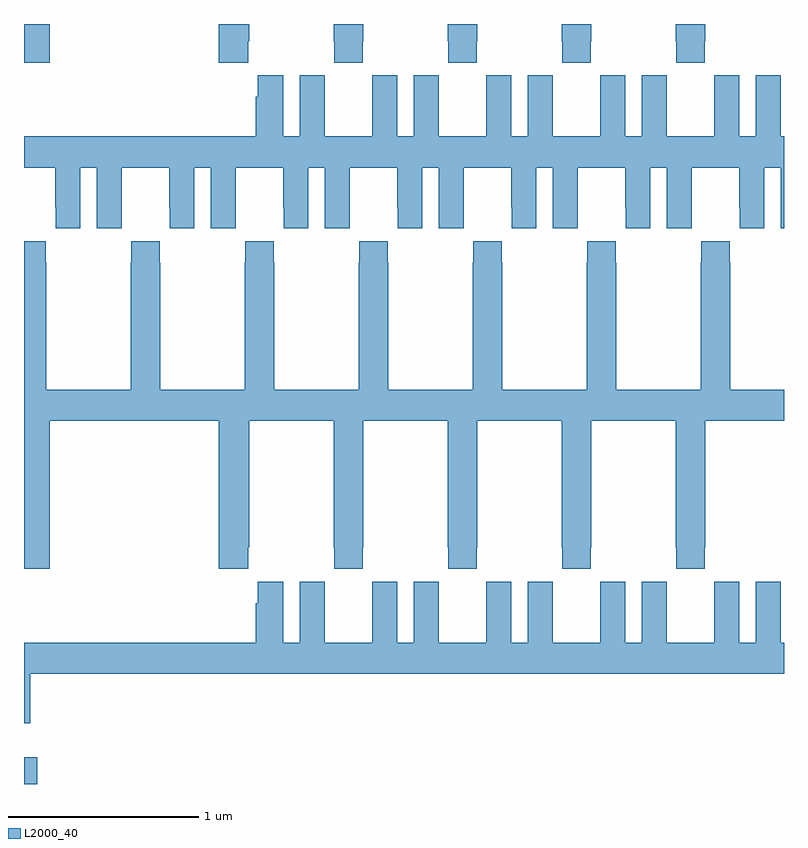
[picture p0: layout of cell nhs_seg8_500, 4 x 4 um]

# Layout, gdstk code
import gdstk
lib = gdstk.Library(unit=1e-6, precision=1e-09)
def R(c, l, rs):  # rectangles x0, y0, x1, y1
    for r in rs: c.add(gdstk.rectangle(r[:2], r[2:], *l))
def P(c, l, *ps):  # polygons
    for p in ps: c.add(gdstk.Polygon(p, *l))
L2000_40 = (2000, 40)

nhs_seg8_500 = lib.new_cell('nhs_seg8_500')
R(nhs_seg8_500, L2000_40, [(143,1135.9,143.071,1136.041), (143,1139.697,143.135,1139.9)])
P(nhs_seg8_500, L2000_40, [(144.179,1139.809),(144.186,1139.809),(144.186,1139.9),(144.026,1139.9),(144.026,1139.697),(144.179,1139.697)],
  [(144.783,1139.809),(144.786,1139.809),(144.786,1139.9),(144.631,1139.9),(144.631,1139.809),(144.633,1139.809),(144.633,1139.697),(144.783,1139.697)],
  [(145.383,1139.809),(145.386,1139.809),(145.386,1139.9),(145.231,1139.9),(145.231,1139.809),(145.233,1139.809),(145.233,1139.697),(145.383,1139.697)],
  [(145.983,1139.809),(145.986,1139.809),(145.986,1139.9),(145.831,1139.9),(145.831,1139.809),(145.833,1139.809),(145.833,1139.697),(145.983,1139.697)],
  [(146.583,1139.809),(146.586,1139.809),(146.586,1139.9),(146.431,1139.9),(146.431,1139.809),(146.433,1139.809),(146.433,1139.697),(146.583,1139.697)],
  [(145.565,1138.936),(145.566,1138.936),(145.566,1138.824),(145.696,1138.824),(145.696,1139.144),(145.784,1139.144),(145.784,1138.824),(145.914,1138.824),(145.914,1138.936),(145.915,1138.936),(145.915,1139.144),(146.165,1139.144),(146.165,1138.936),(146.166,1138.936),(146.166,1138.824),(146.296,1138.824),(146.296,1139.144),(146.384,1139.144),(146.384,1138.824),(146.514,1138.824),(146.514,1138.936),(146.515,1138.936),(146.515,1139.144),(146.765,1139.144),(146.765,1138.936),(146.766,1138.936),(146.766,1138.824),(146.896,1138.824),(146.896,1139.144),(146.984,1139.144),(146.984,1138.824),(147,1138.824),(147,1139.308),(146.983,1139.308),(146.983,1139.516),(146.982,1139.516),(146.982,1139.629),(146.852,1139.629),(146.852,1139.308),(146.764,1139.308),(146.764,1139.629),(146.634,1139.629),(146.634,1139.516),(146.633,1139.516),(146.633,1139.308),(146.383,1139.308),(146.383,1139.516),(146.382,1139.516),(146.382,1139.629),(146.252,1139.629),(146.252,1139.308),(146.164,1139.308),(146.164,1139.629),(146.034,1139.629),(146.034,1139.516),(146.033,1139.516),(146.033,1139.308),(145.783,1139.308),(145.783,1139.516),(145.782,1139.516),(145.782,1139.629),(145.652,1139.629),(145.652,1139.308),(145.564,1139.308),(145.564,1139.629),(145.434,1139.629),(145.434,1139.516),(145.433,1139.516),(145.433,1139.308),(145.183,1139.308),(145.183,1139.516),(145.182,1139.516),(145.182,1139.629),(145.052,1139.629),(145.052,1139.308),(144.964,1139.308),(144.964,1139.629),(144.834,1139.629),(144.834,1139.516),(144.833,1139.516),(144.833,1139.308),(144.583,1139.308),(144.583,1139.516),(144.582,1139.516),(144.582,1139.629),(144.452,1139.629),(144.452,1139.308),(144.364,1139.308),(144.364,1139.629),(144.23,1139.629),(144.23,1139.516),(144.221,1139.516),(144.221,1139.308),(143,1139.308),(143,1139.144),(143.165,1139.144),(143.165,1138.936),(143.166,1138.936),(143.166,1138.824),(143.296,1138.824),(143.296,1139.144),(143.384,1139.144),(143.384,1138.824),(143.514,1138.824),(143.514,1138.936),(143.515,1138.936),(143.515,1139.144),(143.765,1139.144),(143.765,1138.936),(143.766,1138.936),(143.766,1138.824),(143.896,1138.824),(143.896,1139.144),(143.984,1139.144),(143.984,1138.824),(144.114,1138.824),(144.114,1138.936),(144.115,1138.936),(144.115,1139.144),(144.365,1139.144),(144.365,1138.936),(144.366,1138.936),(144.366,1138.824),(144.496,1138.824),(144.496,1139.144),(144.584,1139.144),(144.584,1138.824),(144.714,1138.824),(144.714,1138.936),(144.715,1138.936),(144.715,1139.144),(144.965,1139.144),(144.965,1138.936),(144.966,1138.936),(144.966,1138.824),(145.096,1138.824),(145.096,1139.144),(145.184,1139.144),(145.184,1138.824),(145.314,1138.824),(145.314,1138.936),(145.315,1138.936),(145.315,1139.144),(145.565,1139.144)],
  [(144.026,1137.033),(144.179,1137.033),(144.179,1137.145),(144.186,1137.145),(144.186,1137.812),(144.631,1137.812),(144.631,1137.145),(144.633,1137.145),(144.633,1137.033),(144.783,1137.033),(144.783,1137.145),(144.786,1137.145),(144.786,1137.812),(145.231,1137.812),(145.231,1137.145),(145.233,1137.145),(145.233,1137.033),(145.383,1137.033),(145.383,1137.145),(145.386,1137.145),(145.386,1137.812),(145.831,1137.812),(145.831,1137.145),(145.833,1137.145),(145.833,1137.033),(145.983,1137.033),(145.983,1137.145),(145.986,1137.145),(145.986,1137.812),(146.431,1137.812),(146.431,1137.145),(146.433,1137.145),(146.433,1137.033),(146.583,1137.033),(146.583,1137.145),(146.586,1137.145),(146.586,1137.812),(147,1137.812),(147,1137.976),(146.718,1137.976),(146.718,1138.643),(146.715,1138.643),(146.715,1138.756),(146.565,1138.756),(146.565,1138.643),(146.563,1138.643),(146.563,1137.976),(146.118,1137.976),(146.118,1138.643),(146.115,1138.643),(146.115,1138.756),(145.965,1138.756),(145.965,1138.643),(145.963,1138.643),(145.963,1137.976),(145.518,1137.976),(145.518,1138.643),(145.515,1138.643),(145.515,1138.756),(145.365,1138.756),(145.365,1138.643),(145.363,1138.643),(145.363,1137.976),(144.918,1137.976),(144.918,1138.643),(144.915,1138.643),(144.915,1138.756),(144.765,1138.756),(144.765,1138.643),(144.763,1138.643),(144.763,1137.976),(144.318,1137.976),(144.318,1138.643),(144.315,1138.643),(144.315,1138.756),(144.165,1138.756),(144.165,1138.643),(144.163,1138.643),(144.163,1137.976),(143.718,1137.976),(143.718,1138.643),(143.715,1138.643),(143.715,1138.756),(143.565,1138.756),(143.565,1138.643),(143.563,1138.643),(143.563,1137.976),(143.118,1137.976),(143.118,1138.643),(143.115,1138.643),(143.115,1138.756),(143,1138.756),(143,1137.033),(143.135,1137.033),(143.135,1137.812),(144.026,1137.812)],
  [(147,1136.644),(146.983,1136.644),(146.983,1136.852),(146.982,1136.852),(146.982,1136.965),(146.852,1136.965),(146.852,1136.644),(146.764,1136.644),(146.764,1136.965),(146.634,1136.965),(146.634,1136.852),(146.633,1136.852),(146.633,1136.644),(146.383,1136.644),(146.383,1136.852),(146.382,1136.852),(146.382,1136.965),(146.252,1136.965),(146.252,1136.644),(146.164,1136.644),(146.164,1136.965),(146.034,1136.965),(146.034,1136.852),(146.033,1136.852),(146.033,1136.644),(145.783,1136.644),(145.783,1136.852),(145.782,1136.852),(145.782,1136.965),(145.652,1136.965),(145.652,1136.644),(145.564,1136.644),(145.564,1136.965),(145.434,1136.965),(145.434,1136.852),(145.433,1136.852),(145.433,1136.644),(145.183,1136.644),(145.183,1136.852),(145.182,1136.852),(145.182,1136.965),(145.052,1136.965),(145.052,1136.644),(144.964,1136.644),(144.964,1136.965),(144.834,1136.965),(144.834,1136.852),(144.833,1136.852),(144.833,1136.644),(144.583,1136.644),(144.583,1136.852),(144.582,1136.852),(144.582,1136.965),(144.452,1136.965),(144.452,1136.644),(144.364,1136.644),(144.364,1136.965),(144.23,1136.965),(144.23,1136.852),(144.221,1136.852),(144.221,1136.644),(143,1136.644),(143,1136.22),(143.033,1136.22),(143.033,1136.48),(147,1136.48)])

lib.write_gds('nhs_seg8_500.gds')
